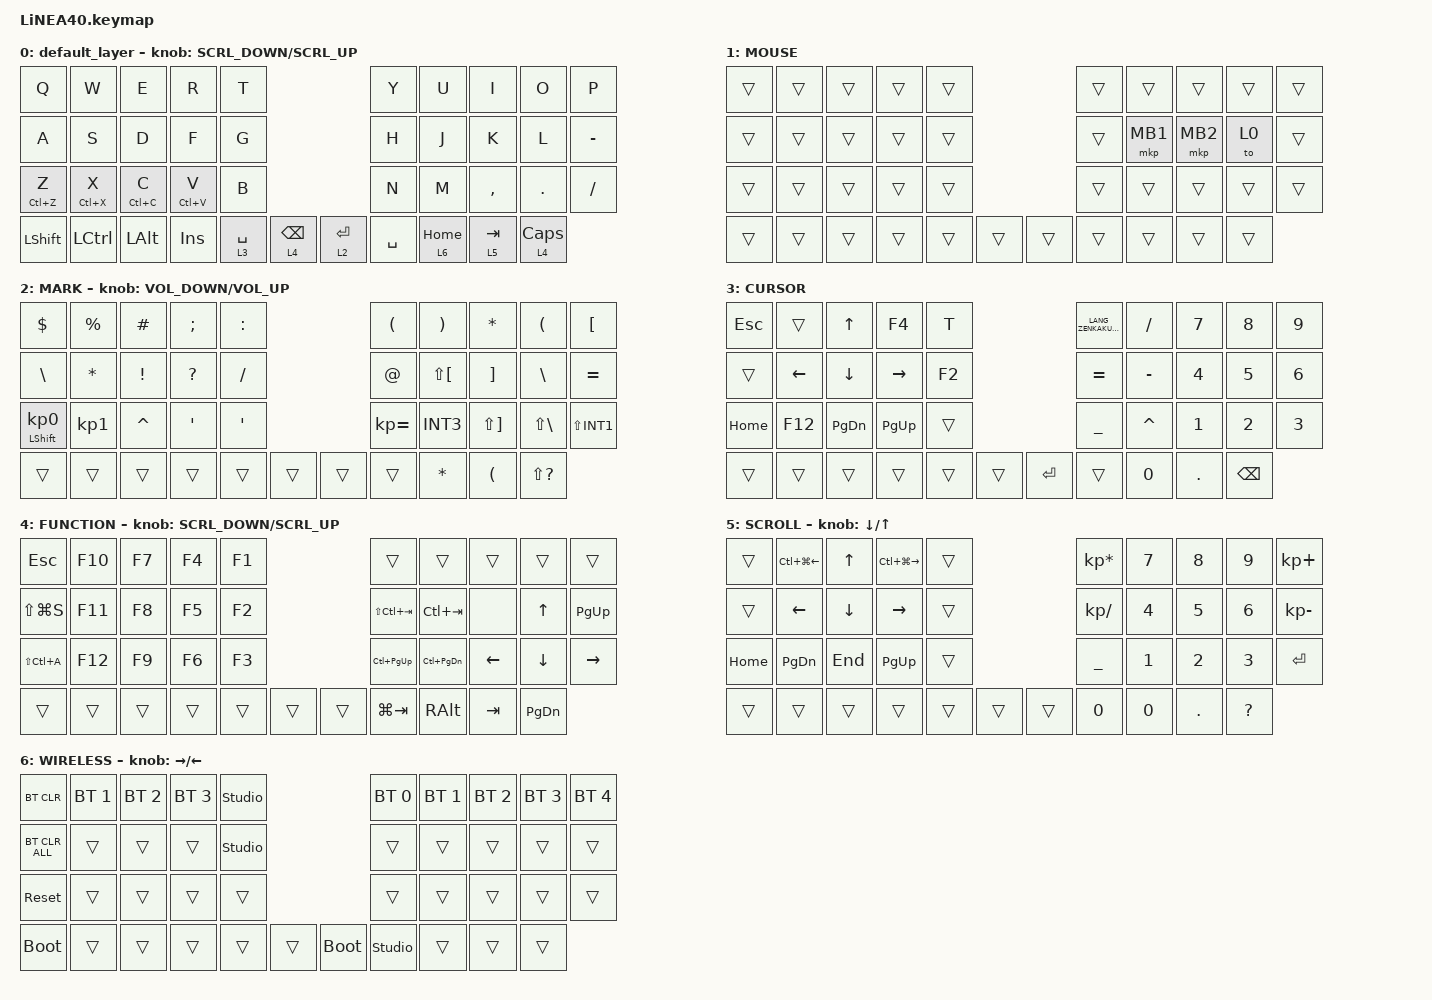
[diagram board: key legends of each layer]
#define ZMK_POINTING_DEFAULT_SCRL_VAL 150

#include <dt-bindings/zmk/input_transform.h>
#include <input/processors.dtsi>
#include <zephyr/dt-bindings/input/input-event-codes.h>
#include <behaviors.dtsi>
#include <dt-bindings/zmk/bt.h>
#include <dt-bindings/zmk/keys.h>
#include <dt-bindings/zmk/pointing.h>

#define MOUSE 1
#define MARK 2
#define CURSOR 3
#define FUNCTION 4
#define SCROLL 5
#define WIRELESS 6

//mouse cursol

&mmv {
    delay-ms = <20>;
    trigger-period-ms = <5>;
    time-to-max-speed-ms = <100>;
    acceleration-exponent = <2>;
};

//mouse scroll

&msc {
    delay-ms = <3>;
    trigger-period-ms = <3>;
    time-to-max-speed-ms = <100>;
    acceleration-exponent = <0>;
};

/ {
    input_processors {
        zip_wheel_scaler: zip_wheel_scaler {
            compatible = "zmk,input-processor-scaler";
            #input-processor-cells = <2>;
            type = <INPUT_EV_REL>;
            codes = <INPUT_REL_WHEEL>;
            track-remainders;
        };
    };
};

&msc_input_listener {
    speed_up {
        layers = <FUNCTION>;
        input-processors = <&zip_wheel_scaler 3 1>; //スクロールを3倍速にする
    };
};

&trackball_listener {
    scroller {
        layers = <SCROLL>;
        input-processors =
            <&zip_xy_transform INPUT_TRANSFORM_Y_INVERT>,
            //スクロール方向を逆転,,,,,,,,
            <&zip_xy_to_scroll_mapper>;
    };
};

/ {
    combos {
        compatible = "zmk,combos";

        ZenkakuHankaku {
            bindings = <&kp GRAVE>;
            key-positions = <11 12>;
        };

        DeleteKey {
            bindings = <&kp DEL>;
            key-positions = <7 8>;
        };

        InsertKey {
            bindings = <&kp INS>;
            key-positions = <6 7>;
        };

        CenterClick {
            bindings = <&mkp MB3>;
            key-positions = <17 16>;
        };

        RightClick {
            bindings = <&mkp MB2>;
            key-positions = <18 17>;
        };

        PrevClick {
            bindings = <&mkp MB4>;
            key-positions = <27 28>;
        };

        ClickNext {
            bindings = <&mkp MB5>;
            key-positions = <26 27>;
        };

        gui {
            bindings = <&kp LEFT_GUI>;
            key-positions = <31 32>;
        };
    };

    behaviors {
        re_kp: sensor_rotate_kp {
            compatible = "zmk,behavior-sensor-rotate-var";
            #sensor-binding-cells = <2>;
            bindings = <&kp>, <&kp>;
        };

        mouse_scrl: mouse_wheel_scrl {
            compatible = "zmk,behavior-sensor-rotate-var";
            #sensor-binding-cells = <2>;
            bindings = <&msc>, <&msc>;

            tap-ms = <20>;
        };
    };

    keymap {
        compatible = "zmk,keymap";

        default_layer {
            bindings = <
&kp Q           &kp W        &kp E         &kp R        &kp T                                        &kp Y      &kp U  &kp I       &kp O      &kp P
&kp A           &kp S        &kp D         &kp F        &kp G                                        &kp H      &kp J  &kp K       &kp L      &kp MINUS
&mt LC(Z) Z     &mt LC(X) X  &mt LC(C) C   &mt LC(V) V  &kp B                                        &kp N      &kp M  &kp COMMA   &kp DOT    &kp SLASH
&kp LEFT_SHIFT  &kp LCTRL    &kp LEFT_ALT  &kp INS      &lt 3 SPACE  &lt 4 BACKSPACE    &lt 2 ENTER  &kp SPACE         &lt 6 HOME  &lt 5 TAB  &lt 4 CLCK
            >;

            sensor-bindings = <&mouse_scrl SCRL_DOWN SCRL_UP>;
        };

        //1

        MOUSE {
            bindings = <
&trans  &trans  &trans  &trans  &trans                    &trans  &trans    &trans    &trans  &trans
&trans  &trans  &trans  &trans  &trans                    &trans  &mkp MB1  &mkp MB2  &to 0   &trans
&trans  &trans  &trans  &trans  &trans                    &trans  &trans    &trans    &trans  &trans
&trans  &trans  &trans  &trans  &trans  &trans    &trans  &trans            &trans    &trans  &trans
            >;
        };

        //2

        MARK {
            bindings = <
&kp DOLLAR                  &kp PRCNT        &kp HASH   &kp SEMI   &kp COLON                    &kp LEFT_PARENTHESIS  &kp RIGHT_PARENTHESIS  &kp ASTERISK           &kp LEFT_PARENTHESIS  &kp LBKT
&kp BACKSLASH               &kp ASTRK        &kp EXCL   &kp QMARK  &kp SLASH                    &kp AT                &kp LS(LBKT)           &kp RIGHT_BRACKET      &kp BACKSLASH         &kp EQUAL
&mt LEFT_SHIFT KP_NUMBER_0  &kp KP_NUMBER_1  &kp CARET  &kp APOS   &kp SQT                      &kp KP_EQUAL          &kp INT3               &kp LS(RIGHT_BRACKET)  &kp LS(BACKSLASH)     &kp LS(INT1)
&trans                      &trans           &trans     &trans     &trans     &trans    &trans  &trans                                       &kp ASTERISK           &kp LEFT_PARENTHESIS  &kp LS(QUESTION)
            >;

            sensor-bindings = <&re_kp C_VOLUME_DOWN C_VOLUME_UP>;
        };

        //3

        CURSOR {
            bindings = <
&kp ESCAPE  &trans          &kp UP_ARROW   &kp F4           &kp T                        &kp LANG_ZENKAKUHANKAKU  &kp SLASH  &kp N7        &kp N8        &kp N9
&trans      &kp LEFT_ARROW  &kp DOWN       &kp RIGHT_ARROW  &kp F2                       &kp EQUAL                &kp MINUS  &kp NUMBER_4  &kp N5        &kp NUMBER_6
&kp HOME    &kp F12         &kp PAGE_DOWN  &kp PAGE_UP      &trans                       &kp UNDER                &kp CARET  &kp NUMBER_1  &kp NUMBER_2  &kp NUMBER_3
&trans      &trans          &trans         &trans           &trans  &trans    &kp ENTER  &trans                              &kp N0        &kp DOT       &kp BACKSPACE
            >;
        };

        //4

        FUNCTION {
            bindings = <
&kp ESCAPE     &kp F10  &kp F7  &kp F4  &kp F1                    &trans           &trans             &trans         &trans        &trans
&kp LS(LG(S))  &kp F11  &kp F8  &kp F5  &kp F2                    &kp LS(LC(TAB))  &kp LC(TAB)        &none          &kp UP_ARROW  &kp PAGE_UP
&kp LS(LC(A))  &kp F12  &kp F9  &kp F6  &kp F3                    &kp LC(PAGE_UP)  &kp LC(PAGE_DOWN)  &kp LEFT       &kp DOWN      &kp RIGHT
&trans         &trans   &trans  &trans  &trans  &trans    &trans  &kp LG(TAB)                         &kp RIGHT_ALT  &kp TAB       &kp PAGE_DOWN
            >;

            sensor-bindings = <&mouse_scrl SCRL_DOWN SCRL_UP>;
        };

        //5

        SCROLL {
            bindings = <
&trans    &kp LC(LG(LEFT_ARROW))  &kp UP_ARROW  &kp LC(LG(RIGHT_ARROW))  &trans                    &kp KP_MULTIPLY  &kp NUMBER_7  &kp NUMBER_8  &kp NUMBER_9  &kp KP_PLUS
&trans    &kp LEFT_ARROW          &kp DOWN      &kp RIGHT_ARROW          &trans                    &kp KP_SLASH     &kp NUMBER_4  &kp NUMBER_5  &kp NUMBER_6  &kp KP_MINUS
&kp HOME  &kp PAGE_DOWN           &kp END       &kp PAGE_UP              &trans                    &kp UNDER        &kp NUMBER_1  &kp NUMBER_2  &kp NUMBER_3  &kp ENTER
&trans    &trans                  &trans        &trans                   &trans  &trans    &trans  &kp NUMBER_0                   &kp NUMBER_0  &kp DOT       &kp QUESTION
            >;

            sensor-bindings = <&inc_dec_kp DOWN_ARROW UP_ARROW>;
        };

        //6

        WIRELESS {
            bindings = <
&bt BT_CLR      &bt BT_SEL 1  &bt BT_SEL 2  &bt BT_SEL 3  &studio_unlock                         &bt BT_SEL 0    &bt BT_SEL 1  &bt BT_SEL 2  &bt BT_SEL 3  &bt BT_SEL 4
&bt BT_CLR_ALL  &trans        &trans        &trans        &studio_unlock                         &trans          &trans        &trans        &trans        &trans
&sys_reset      &trans        &trans        &trans        &trans                                 &trans          &trans        &trans        &trans        &trans
&bootloader     &trans        &trans        &trans        &trans          &trans    &bootloader  &studio_unlock                &trans        &trans        &trans
            >;

            sensor-bindings = <&inc_dec_kp RIGHT_ARROW LEFT_ARROW>;
        };
    };
};
